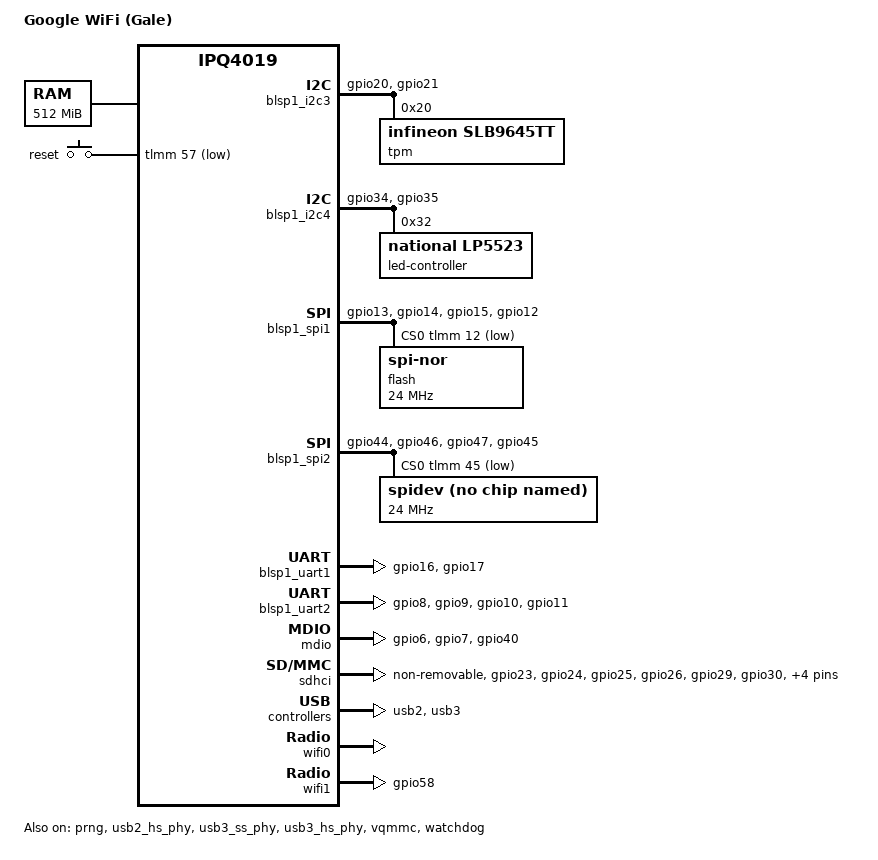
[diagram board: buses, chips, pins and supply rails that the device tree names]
// SPDX-License-Identifier: GPL-2.0
/*
 * Copyright (c) 2016, 2018 The Linux Foundation. All rights reserved.
 * Copyright (c) 2016 Google, Inc
 */

#include "qcom-ipq4019.dtsi"
#include <dt-bindings/input/input.h>
#include <dt-bindings/gpio/gpio.h>
#include <dt-bindings/leds/common.h>

/ {
	model = "Google WiFi (Gale)";
	compatible = "google,wifi", "google,gale-v2", "qcom,ipq4019";

	aliases {
		ethernet0 = &gmac0;
		label-mac-device = &gmac0;
		led-boot = &led0_blue;
		led-failsafe = &led0_red;
		led-running = &led0_blue;
		led-upgrade = &led0_red;
	};

	chosen {
		/*
		 * rootwait: in case we're booting from slow/async USB storage.
		 */
		bootargs-append = " rootwait";
		stdout-path = &blsp1_uart1;
	};

	firmware {
		#address-cells = <1>;
		#size-cells = <1>;
	};

	memory {
		device_type = "memory";
		reg = <0x80000000 0x20000000>; /* 512MB */
	};

	soc {
		ess-switch@c000000 {
			status = "okay";
		};

		edma@c080000 {
			status = "okay";
		};

		ess-psgmii@98000 {
			status = "okay";
		};
	};

	keys {
		compatible = "gpio-keys";
		pinctrl-0 = <&fw_pinmux>;
		pinctrl-names = "default";

		reset {
			label = "reset";
			gpios = <&tlmm 57 GPIO_ACTIVE_LOW>;
			linux,code = <KEY_RESTART>;
		};
	};
};

&scm {
	qcom,sdi-enabled;
};

&tlmm {
	gpio-line-names = "",
			  "",
			  "",
			  "",
			  "",
			  "",
			  "",
			  "",
			  "",
			  "",
			  "",
			  "",
			  "",
			  "",
			  "",
			  "",
			  "",
			  "",
			  "",
			  "",
			  "",
			  "",
			  "",
			  "",
			  "",
			  "",
			  "",
			  "",
			  "",
			  "",
			  "",
			  "",
			  "",
			  "",
			  "",
			  "",
			  "",
			  "",
			  "",
			  "",
			  "",
			  "",
			  "",
			  "",
			  "",
			  "",
			  "",
			  "",
			  "",
			  "",
			  "",
			  "",
			  "",
			  /* AP_FLASH_WP_L is crossystem ABI. */
			  "AP_FLASH_WP_L" /* 53 */,
			  "",
			  "",
			  "",
			  /* RECOVERY_SW_L is crossystem ABI. */
			  "RECOVERY_SW_L" /* 57 */;

	fw_pinmux: fw_pinmux {
		wp {
			pins = "gpio53";
			output-low;
		};
		recovery {
			pins = "gpio57";
			function = "gpio";
			bias-none;
		};
		developer {
			pins = "gpio41";
			bias-none;
		};
	};

	reset802_15_4 {
		pins = "gpio60";
	};

	led_reset {
		pins = "gpio22";
		output-high;
	};

	sys_reset {
		pins = "gpio19";
		output-high;
	};

	rx_active {
		pins = "gpio43";
		bias-pull,down;
	};

	spi_0_pins: spi_0_pinmux {
		pinmux {
			function = "blsp_spi0";
			pins = "gpio13", "gpio14","gpio15";
		};
		pinmux_cs {
			function = "gpio";
			pins = "gpio12";
		};
		pinconf {
			pins = "gpio13", "gpio14","gpio15";
			drive-strength = <12>;
			bias-disable;
		};
		pinconf_cs {
			pins = "gpio12";
			drive-strength = <2>;
			bias-disable;
			output-high;
		};
	};

	spi_1_pins: spi_1_pinmux {
		pinmux {
			function = "blsp_spi1";
			pins = "gpio44", "gpio46","gpio47";
		};
		pinmux_cs {
			function = "gpio";
			pins = "gpio45";
		};
		pinconf {
			pins = "gpio44", "gpio46","gpio47";
			drive-strength = <12>;
			bias-disable;
		};
		pinconf_cs {
			pins = "gpio45";
			drive-strength = <2>;
			bias-disable;
			output-high;
		};
	};

	serial_0_pins: serial0_pinmux {
		mux {
			pins = "gpio16", "gpio17";
			function = "blsp_uart0";
			bias-disable;
		};
	};

	serial_1_pins: serial1_pinmux {
		mux {
			pins = "gpio8", "gpio9", "gpio10", "gpio11";
			function = "blsp_uart1";
			bias-disable;
		};
	};

	i2c_0_pins: i2c_0_pinmux {
		mux {
			pins = "gpio20", "gpio21";
			function = "blsp_i2c0";
			drive-open-drain;
		};
	};

	i2c_1_pins: i2c_1_pinmux {
		mux {
			pins = "gpio34", "gpio35";
			function = "blsp_i2c1";
			drive-open-drain;
		};
	};

	sd_0_pins: sd_0_pinmux {
		sd0 {
			pins = "gpio23", "gpio24", "gpio25", "gpio26", "gpio29", "gpio30", "gpio31", "gpio32";
			function = "sdio";
			drive-strength = <10>;
			bias-pull-up;
			pull-up-res = <0>;
		};
		sdclk {
			pins = "gpio27";
			function = "sdio";
			drive-strength = <2>;
			bias-pull-up;
			pull-up-res = <0>;
		};
		sdcmd {
			pins = "gpio28";
			function = "sdio";
			drive-strength = <10>;
			bias-pull-up;
			pull-up-res = <0>;
		};
	};

	mdio_pins: mdio_pinmux {
		mux_1 {
			pins = "gpio6";
			function = "mdio";
			bias-disable;
		};
		mux_2 {
			pins = "gpio7";
			function = "mdc";
			bias-disable;
		};
		mux_3 {
			pins = "gpio40";
			function = "gpio";
			bias-disable;
			output-high;
		};
	};

	wifi1_1_pins: wifi2_pinmux {
		mux {
			pins = "gpio58";
			output-low;
		};
	};
};

&blsp_dma {
	status = "okay";
};

&blsp1_i2c3 {
	pinctrl-0 = <&i2c_0_pins>;
	pinctrl-names = "default";
	status = "okay";

	tpm@20 {
		compatible = "infineon,slb9645tt";
		reg = <0x20>;
		powered-while-suspended;
	};
};

&blsp1_i2c4 {
	pinctrl-0 = <&i2c_1_pins>;
	pinctrl-names = "default";
	status = "okay";

	led-controller@32 {
		#address-cells = <1>;
		#size-cells = <0>;
		compatible = "national,lp5523";
		reg = <0x32>;
		clock-mode = /bits/ 8 <1>;

#if 1
		led0_red: led@0 {
			reg = <0>;
			chan-name = "LED0_Red";
			led-cur = /bits/ 8 <0x64>;
			max-cur = /bits/ 8 <0x78>;
			color = <LED_COLOR_ID_RED>;
			function = LED_FUNCTION_FAULT;
		};

		led@1 {
			reg = <1>;
			chan-name = "LED0_Green";
			led-cur = /bits/ 8 <0x64>;
			max-cur = /bits/ 8 <0x78>;
			color = <LED_COLOR_ID_GREEN>;
		};

		led0_blue: led@2 {
			reg = <2>;
			chan-name = "LED0_Blue";
			led-cur = /bits/ 8 <0x64>;
			max-cur = /bits/ 8 <0x78>;
			color = <LED_COLOR_ID_BLUE>;
			function = LED_FUNCTION_POWER;
		};
#else
		/*
		 * openwrt isn't ready to handle multi-intensity leds yet
		 * # echo 255 255 255 > /sys/class/leds/tricolor/multi_intensity
		 * # echo 255 > /sys/class/leds/tricolor/brightness
		 */
		multi-led@2 {
			function = LED_FUNCTION_POWER;
			reg = <2>;
			color = <LED_COLOR_ID_RGB>;
			#address-cells = <1>;
			#size-cells = <0>;

			led@0 {
				reg = <0>;
				chan-name = "tricolor";
				led-cur = /bits/ 8 <0x64>;
				max-cur = /bits/ 8 <0x78>;
				color = <LED_COLOR_ID_RED>;
			};

			led@1 {
				reg = <1>;
				chan-name = "tricolor";
				led-cur = /bits/ 8 <0x64>;
				max-cur = /bits/ 8 <0x78>;
				color = <LED_COLOR_ID_GREEN>;
			};

			led@2 {
				reg = <2>;
				chan-name = "tricolor";
				led-cur = /bits/ 8 <0x64>;
				max-cur = /bits/ 8 <0x78>;
				color = <LED_COLOR_ID_BLUE>;
			};
		};
#endif
	};
};

&blsp1_spi1 {
	pinctrl-0 = <&spi_0_pins>;
	pinctrl-names = "default";
	status = "okay";
	cs-gpios = <&tlmm 12 GPIO_ACTIVE_LOW>;

	flash@0 {
		compatible = "jedec,spi-nor";
		reg = <0>;
		spi-max-frequency = <24000000>;
	};
};

&blsp1_spi2 {
	pinctrl-0 = <&spi_1_pins>;
	pinctrl-names = "default";
	status = "okay";
	cs-gpios = <&tlmm 45 GPIO_ACTIVE_LOW>;

	/*
	 * This "spidev" was included in the manufacturer device tree. I
	 * suspect it's the (unused; and removed from later HW spins) Zigbee
	 * radio -- SiliconLabs EM3581 Zigbee? There's no driver or binding for
	 * this at the moment.
	 */
	spidev@0 {
		compatible = "spidev";
		reg = <0>;
		spi-max-frequency = <24000000>;
	};
};

&blsp1_uart1 {
	pinctrl-0 = <&serial_0_pins>;
	pinctrl-names = "default";
	status = "okay";
};

&blsp1_uart2 {
	pinctrl-0 = <&serial_1_pins>;
	pinctrl-names = "default";
	status = "okay";
};

&gmac0 {
	qcom,phy_mdio_addr = <4>;
	qcom,poll_required = <1>;
	qcom,forced_speed = <1000>;
	qcom,forced_duplex = <1>;
	vlan_tag = <2 0x20>;
};

&gmac1 {
	qcom,phy_mdio_addr = <3>;
	qcom,forced_duplex = <1>;
	vlan_tag = <1 0x10>;
};

&mdio {
	status = "okay";
	pinctrl-0 = <&mdio_pins>;
	pinctrl-names = "default";
};

&prng {
	status = "okay";
};

&sdhci {
	status = "okay";
	pinctrl-0 = <&sd_0_pins>;
	pinctrl-names = "default";
	clock-frequency = <192000000>;
	vqmmc-supply = <&vqmmc>;
	non-removable;
};

&usb2 {
	status = "okay";
};

&usb2_hs_phy {
	status = "okay";
};

&usb3 {
	status = "okay";
};

&usb3_ss_phy {
	status = "okay";
};

&usb3_hs_phy {
	status = "okay";
};

&vqmmc {
	status = "okay";
};

&watchdog {
	status = "okay";
};

&wifi0 {
	status = "okay";
	qcom,ath10k-calibration-variant = "GO_GALE";
};

&wifi1 {
	status = "okay";
	pinctrl-0 = <&wifi1_1_pins>;
	pinctrl-names = "default";
	qcom,ath10k-calibration-variant = "GO_GALE";
};
